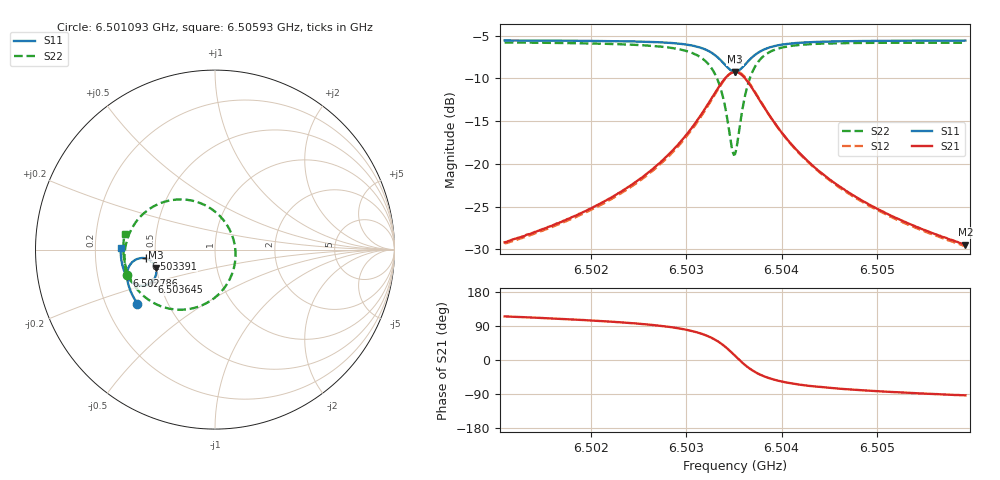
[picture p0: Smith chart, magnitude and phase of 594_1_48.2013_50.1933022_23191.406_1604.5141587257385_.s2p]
#  HZ  S  RI  R  50.00
! Rohde & Schwarz Vector Network Analyzer
! Rohde-Schwarz,ZNB20-2Port,1311601062101988,3.16
! Created: UTC 3/20/2024, 12:02:43 PM
! freq[Hz]  re:S11  im:S11  re:S21  im:S21  re:S12  im:S12  re:S22  im:S22
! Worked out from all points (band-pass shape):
!   401 points, 6.501093 GHz to 6.50593 GHz, reference 50 ohm
!   highest |S21| = -9.25 dB at 6.503512 GHz (marker M1); lowest = -29.4 dB at 6.50593 GHz (marker M2)
!   |S21| within 3 dB of the highest: 6.50327 GHz to 6.503754 GHz (483.1 kHz wide, 0.00743 % of centre)
!   lowest |S11| = -9.2 dB at 6.503512 GHz (marker M3), VSWR 2.06, Z = 24.7 - j5.7 ohm
!   |S11| at or under -10 dB: nowhere
!   |S22| runs from -18.9 to -5.8 dB; largest |S21 - S12| = 0.012
!   S11 on the Smith chart (normalised r, x): 6.501093 GHz: 0.34, -0.28; 6.502786 GHz: 0.33, -0.13; 6.503391 GHz: 0.44, -0.05; 6.503645 GHz: 0.45, -0.19; 6.50593 GHz: 0.31, +0.01
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6.5010931e9  -0.4327 -0.3007  -0.0147 0.0315  -0.0131 0.0316  -0.493 -0.1429
6.5019033e9  -0.4667 -0.2396  -0.0139 0.0499  -0.0116 0.0493  -0.5041 -0.0546
6.5023265e9  -0.4812 -0.2013  -0.011 0.0686  -0.00804 0.0674  -0.5002 0.00696
6.5027134e9  -0.4898 -0.1575  -0.00109 0.1004  0.00255 0.098  -0.4784 0.0869
6.502786e9  -0.4902 -0.1474  0.00295 0.1094  0.00682 0.1067  -0.4696 0.1065
6.5029916e9  -0.4863 -0.1139  0.0246 0.1435  0.0283 0.1393  -0.4242 0.1743
6.5031487e9  -0.4713 -0.0816  0.0647 0.1801  0.0674 0.1743  -0.3465 0.2382
6.5032939e9  -0.4327 -0.0519  0.1475 0.2091  0.1482 0.203  -0.1957 0.2797
6.5033422e9  -0.4111 -0.047  0.1907 0.2078  0.1907 0.2023  -0.12 0.271
6.5033906e9  -0.3854 -0.0491  0.2403 0.1924  0.2405 0.188  -0.0351 0.2361
6.5034752e9  -0.3417 -0.0788  0.3201 0.1167  0.3226 0.1128  0.0925 0.0871
6.5035115e9  -0.3305 -0.1014  0.3381 0.0671  0.342 0.0618  0.1138 -0.00597
6.5035357e9  -0.3274 -0.118  0.3417 0.0318  0.346 0.0252  0.1115 -0.0708
6.503572e9  -0.3295 -0.1426  0.3343 -0.0193  0.3381 -0.0281  0.0838 -0.1616
6.5036445e9  -0.3522 -0.1806  0.2866 -0.0972  0.2869 -0.1088  -0.0283 -0.2872
6.5037533e9  -0.3987 -0.2013  0.1977 -0.1432  0.1927 -0.1532  -0.208 -0.3346
6.5039105e9  -0.4467 -0.192  0.1123 -0.1391  0.1052 -0.1444  -0.3617 -0.2851
6.5040798e9  -0.475 -0.1705  0.066 -0.1176  0.0597 -0.1199  -0.4365 -0.2177
6.5043217e9  -0.4962 -0.1406  0.0351 -0.0918  0.0301 -0.0924  -0.4811 -0.1434
6.5046844e9  -0.5119 -0.1017  0.0154 -0.0674  0.012 -0.0671  -0.5043 -0.0674
6.5051318e9  -0.5212 -0.0596  0.00528 -0.0501  0.00292 -0.0494  -0.5107 -0.00162
6.5059299e9  -0.5265 0.00847  -0.00196 -0.0337  -0.00329 -0.0329  -0.5037 0.085
